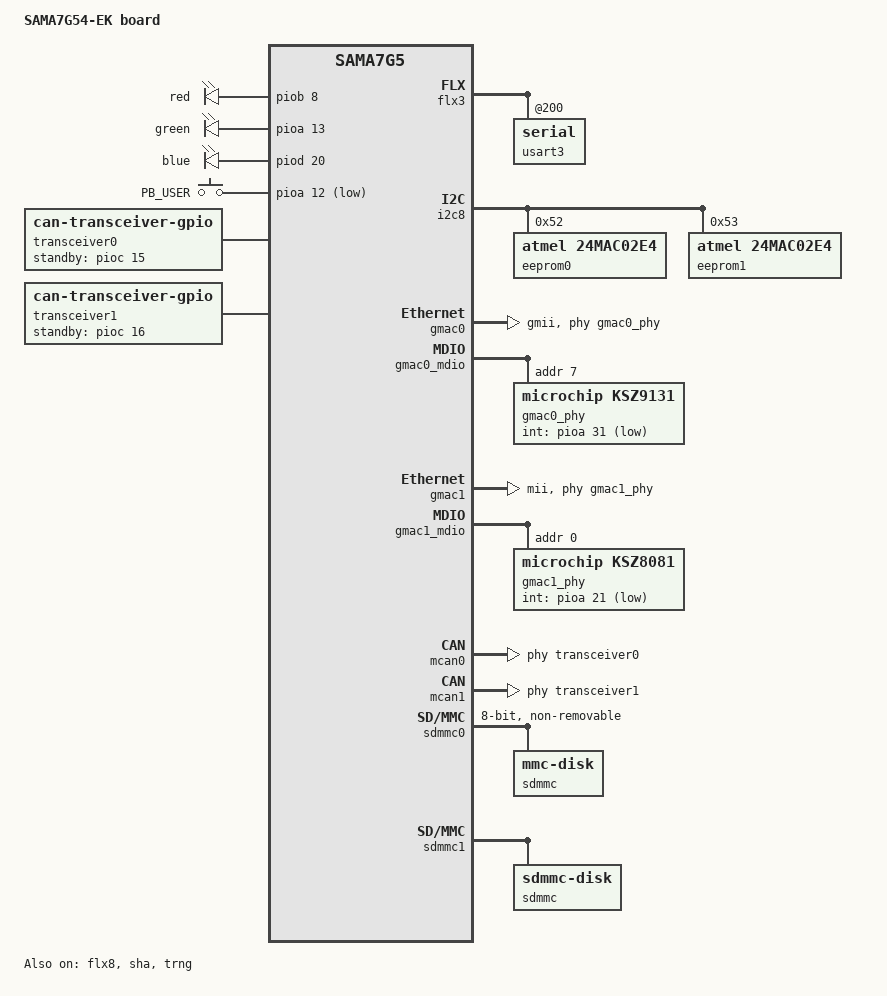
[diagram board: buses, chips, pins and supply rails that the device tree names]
/*
 * Copyright (C) 2025 Microchip Technology Inc. and its subsidiaries
 *
 * SPDX-License-Identifier: Apache-2.0
 *
 */

/dts-v1/;
#include <common/freq.h>
#include <dt-bindings/mfd/mfd_mchp_sam_flexcom.h>
#include <dt-bindings/sam/sama7g5/sama7g54/sama7g54-pinctrl.h>
#include <dt-bindings/gpio/gpio.h>
#include <dt-bindings/gpio/microchip-sam-gpio.h>
#include <dt-bindings/input/input-event-codes.h>
#include <dt-bindings/pwm/pwm.h>
#include <microchip/sam/sama7g5.dtsi>

/ {
	model = "SAMA7G54-EK board";
	compatible = "microchip,sama7g5ek", "microchip,sama7g5", "microchip,sama7";

	aliases {
		led0 = &led_green;
		pwm-led0 = &pwm_led_green;
		sw0 = &button_user;
		sdhc0 = &sdmmc0;
		sdhc1 = &sdmmc1;
	};

	chosen {
		zephyr,sram = &ddram;
		zephyr,canbus = &mcan0;
		zephyr,console = &usart3;
		zephyr,entropy = &trng;
		zephyr,shell-uart = &usart3;
	};

	clocks {
		main_xtal {
			clock-frequency = <DT_FREQ_M(24)>;
		};

		slow_xtal {
			clock-frequency = <32768>;
		};
	};

	ddram: ddram@60000000 {
		compatible = "ddram";
		reg = <0x60000000 DT_SIZE_M(512)>;
	};

	leds {
		compatible = "gpio-leds";
		status = "okay";

		led_red: red {
			label = "red";
			gpios = <&piob 8 GPIO_ACTIVE_HIGH>;
		};

		led_green: green {
			label = "green";
			gpios = <&pioa 13 GPIO_ACTIVE_HIGH>;
		};

		led_blue: blue {
			label = "blue";
			gpios = <&piod 20 GPIO_ACTIVE_HIGH>;
		};
	};

	gpio_keys {
		compatible = "gpio-keys";
		status = "okay";

		button_user: button_0 {
			label = "PB_USER";
			gpios = <&pioa 12 (GPIO_PULL_UP | GPIO_ACTIVE_LOW)>;
			zephyr,code = <INPUT_KEY_0>;
		};
	};

	pwmleds: pwmleds {
		compatible = "pwm-leds";
		status = "disabled"; /* Conflict with leds. */

		pwm_led_green: pwm_led_green {
			pwms = <&pwm 2 PWM_MSEC(20) PWM_POLARITY_INVERTED>;
		};

		pwm_led_blue: pwm_led_blue {
			pwms = <&pwm 3 PWM_MSEC(20) PWM_POLARITY_INVERTED>;
		};
	};

	transceiver0: can-phy0 {
		compatible = "can-transceiver-gpio";
		standby-gpios = <&pioc 15 GPIO_ACTIVE_HIGH>;
		max-bitrate = <DT_FREQ_M(8)>;
		#phy-cells = <0>;
	};

	transceiver1: can-phy1 {
		compatible = "can-transceiver-gpio";
		standby-gpios = <&pioc 16 GPIO_ACTIVE_HIGH>;
		max-bitrate = <DT_FREQ_M(8)>;
		#phy-cells = <0>;
	};
};

&dma0 {
	status = "okay";
};

&dma1 {
	status = "okay";
};

&dma2 {
	status = "okay";
};

&flx3 {
	mchp,flexcom-mode = <SAM_FLEXCOM_MODE_USART>;
	status = "okay";

	usart3: serial@200 {
		current-speed = <115200>;
		pinctrl-0 = <&pinctrl_flx3_default>;
		pinctrl-names = "default";
		status = "okay";
	};
};

&flx8 {
	mchp,flexcom-mode = <SAM_FLEXCOM_MODE_TWI>;
	status = "okay";

	i2c8: i2c8@600 {
		pinctrl-0 = <&pinctrl_i2c8_default>;
		pinctrl-names = "default";
		status = "okay";

		eeprom0: eeprom0@52 {
			compatible = "atmel,24mac02e4", "atmel,at24";
			reg = <0x52>;
			address-width = <8>;
			pagesize = <16>;
			size = <256>;
			timeout = <5>;
			status = "okay";
		};

		eeprom1: eeprom1@53 {
			compatible = "atmel,24mac02e4", "atmel,at24";
			reg = <0x53>;
			address-width = <8>;
			pagesize = <16>;
			size = <256>;
			timeout = <5>;
			status = "okay";
		};
	};
};

&gmac0 {
	status = "okay";
	pinctrl-names = "default";
	pinctrl-0 = <&pinctrl_gmac0_default>;
	phy-connection-type = "gmii";
	phy-handle = <&gmac0_phy>;
};

&gmac0_mdio {
	status = "okay";

	pinctrl-0 = <&pinctrl_gmac0_mdio_default>;
	pinctrl-names = "default";

	gmac0_phy: ethernet-phy@7 {
		compatible = "microchip,ksz9131";
		status = "okay";
		reg = <7>;
		int-gpios = <&pioa 31 GPIO_ACTIVE_LOW>;
	};
};

&gmac1 {
	status = "okay";
	pinctrl-names = "default";
	pinctrl-0 = <&pinctrl_gmac1_default>;
	phy-connection-type = "mii";
	phy-handle = <&gmac1_phy>;
	ref-clk-source = "external";
};

&gmac1_mdio {
	status = "okay";

	pinctrl-0 = <&pinctrl_gmac1_mdio_default>;
	pinctrl-names = "default";

	gmac1_phy: ethernet-phy@0 {
		compatible = "microchip,ksz8081";
		status = "okay";
		reg = <0>;
		int-gpios = <&pioa 21 GPIO_ACTIVE_LOW>;
		microchip,interface-type = "rmii-25MHz";
	};
};

&mcan0 {
	status = "okay";
	pinctrl-0 = <&pinctrl_can0_default>;
	pinctrl-names = "default";
	phys = <&transceiver0>;
};

&mcan1 {
	status = "okay";
	pinctrl-0 = <&pinctrl_can1_default>;
	pinctrl-names = "default";
	phys = <&transceiver1>;
};

&pinctrl {
	pinctrl_can0_default: can0_default {
		group1 {
			pinmux = <PIN_PD12__CANTX0>,
				 <PIN_PD13__CANRX0>;
			bias-disable;
		};
	};

	pinctrl_can1_default: can1_default {
		group1 {
			pinmux = <PIN_PD14__CANTX1>,
				 <PIN_PD15__CANRX1>;
			bias-disable;
		};
	};

	pinctrl_flx3_default: flx3_default {
		group1 {
			pinmux = <PIN_PD16__FLEXCOM3_IO0>,
				 <PIN_PD17__FLEXCOM3_IO1>;
			bias-pull-up;
		};
	};

	pinctrl_gmac0_default: gmac0_default {
		group1 {
			pinmux = <PIN_PA16__G0_TX0>,
				 <PIN_PA17__G0_TX1>,
				 <PIN_PA26__G0_TX2>,
				 <PIN_PA27__G0_TX3>,
				 <PIN_PA19__G0_RX0>,
				 <PIN_PA20__G0_RX1>,
				 <PIN_PA28__G0_RX2>,
				 <PIN_PA29__G0_RX3>,
				 <PIN_PA15__G0_TXEN>,
				 <PIN_PA30__G0_RXCK>,
				 <PIN_PA18__G0_RXDV>,
				 <PIN_PA25__G0_125CK>;
			bias-disable;
		};

		gmac0_txck_default {
			pinmux = <PIN_PA24__G0_TXCK>;
			bias-pull-up;
		};
	};

	pinctrl_gmac0_mdio_default: gmac0_mdio_default {
		group1 {
			pinmux = <PIN_PA22__G0_MDC>,
				 <PIN_PA23__G0_MDIO>;
		};
	};

	pinctrl_gmac1_default: gmac1_default {
		group1 {
			pinmux = <PIN_PD30__G1_TXCK>,
				 <PIN_PD22__G1_TX0>,
				 <PIN_PD23__G1_TX1>,
				 <PIN_PD21__G1_TXEN>,
				 <PIN_PD25__G1_RX0>,
				 <PIN_PD26__G1_RX1>,
				 <PIN_PD27__G1_RXER>,
				 <PIN_PD24__G1_RXDV>;
			bias-disable;
		};
	};

	pinctrl_gmac1_mdio_default: gmac1_mdio_default {
		group1 {
			pinmux = <PIN_PD28__G1_MDC>,
				 <PIN_PD29__G1_MDIO>;
			bias-disable;
		};
	};

	pinctrl_i2c8_default: i2c8_default {
		group1 {
			pinmux = <PIN_PC14__FLEXCOM8_IO0>,
				 <PIN_PC13__FLEXCOM8_IO1>;
			bias-disable;
		};
	};

	pinctrl_mikrobus_pwm_default: pinctrl_mikrobus_pwm_default {
		mikrobus1_pwm2 {
			pinmux = <PIN_PA13__PWMH2>;
			bias-disable;
		};

		mikrobus2_pwm3 {
			pinmux = <PIN_PD20__PWMH3>;
			bias-disable;
		};
	};

	pinctrl_sdmmc0_default: sdmmc0_default {
		cmd_data {
			pinmux = <PIN_PA1__SDMMC0_CMD>,
				 <PIN_PA3__SDMMC0_DAT0>,
				 <PIN_PA4__SDMMC0_DAT1>,
				 <PIN_PA5__SDMMC0_DAT2>,
				 <PIN_PA6__SDMMC0_DAT3>,
				 <PIN_PA7__SDMMC0_DAT4>,
				 <PIN_PA8__SDMMC0_DAT5>,
				 <PIN_PA9__SDMMC0_DAT6>,
				 <PIN_PA10__SDMMC0_DAT7>;
			bias-pull-up;
		};

		ck_cd_rstn_vddsel {
			pinmux = <PIN_PA0__SDMMC0_CK>,
				 <PIN_PA2__SDMMC0_RSTN>,
				 <PIN_PA11__SDMMC0_DS>;
			bias-pull-up;
		};
	};

	pinctrl_sdmmc1_default: sdmmc1_default {
		cmd_data {
			pinmux = <PIN_PB29__SDMMC1_CMD>,
				 <PIN_PB31__SDMMC1_DAT0>,
				 <PIN_PC0__SDMMC1_DAT1>,
				 <PIN_PC1__SDMMC1_DAT2>,
				 <PIN_PC2__SDMMC1_DAT3>;
			bias-pull-up;
		};

		ck_cd_rstn_vddsel {
			pinmux = <PIN_PB30__SDMMC1_CK>,
				 <PIN_PB28__SDMMC1_RSTN>,
				 <PIN_PC5__SDMMC1_1V8SEL>,
				 <PIN_PC4__SDMMC1_CD>;
			bias-pull-up;
		};
	};
};

&pit64b0 {
	clock-frequency = <DT_FREQ_M(10)>;
};

&pwm {
	pinctrl-0 = <&pinctrl_mikrobus_pwm_default>;
	pinctrl-names = "default";
};

&sdmmc0 {
	pinctrl-names = "default";
	pinctrl-0 = <&pinctrl_sdmmc0_default>;
	max-bus-freq = <DT_FREQ_M(208)>;
	non-removable;
	bus-width = <8>;
	no-1-8-v;
	auto-cmd23;
	status = "okay";

	sdmmc {
		compatible = "zephyr,mmc-disk";
		disk-name = "SD2";
		status = "okay";
	};
};

&sdmmc1 {
	pinctrl-names = "default";
	pinctrl-0 = <&pinctrl_sdmmc1_default>;
	max-bus-freq = <DT_FREQ_M(208)>;
	no-1-8-v;
	rstn-power-en;
	auto-cmd12;
	status = "okay";

	sdmmc {
		compatible = "zephyr,sdmmc-disk";
		disk-name = "SD";
		status = "okay";
	};
};

&sha {
	status = "okay";
};

&trng {
	status = "okay";
};
